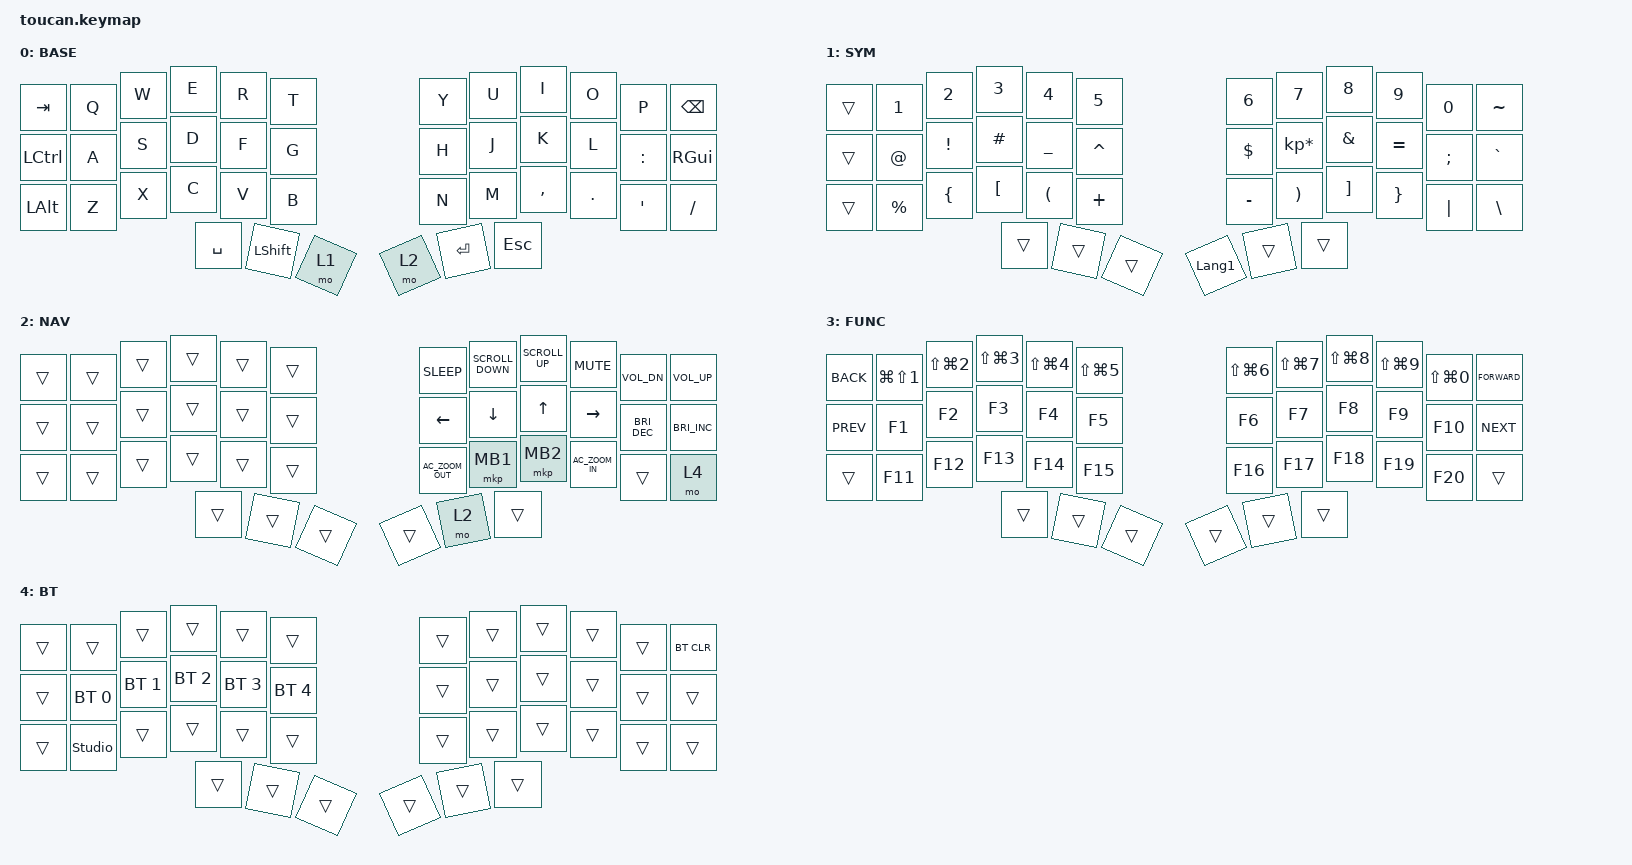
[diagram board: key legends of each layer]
#include <behaviors.dtsi>
#include <dt-bindings/zmk/bt.h>
#include <dt-bindings/zmk/keys.h>
#include <dt-bindings/zmk/pointing.h>

#define BASE 0
#define NAV  1
#define SYM  2
#define ADJ  3

/ {
    conditional_layers {
        compatible = "zmk,conditional-layers";

        tri_layer {
            if-layers = <1 2>;
            then-layer = <3>;
        };
    };

    keymap {
        compatible = "zmk,keymap";

        base {
            display-name = "BASE";
            bindings = <
&kp TAB  &kp Q  &kp W  &kp E  &kp R  &kp T  &kp Y  &kp U  &kp I  &kp O  &kp P  &kp BSPC  &kp LCTRL  &kp A  &kp S  &kp D  &kp F  &kp G  &kp H  &kp J  &kp K  &kp L  &kp COLON  &kp RIGHT_GUI  &kp LALT  &kp Z  &kp X  &kp C  &kp V  &kp B  &kp N  &kp M  &kp COMMA  &kp DOT  &kp APOSTROPHE  &kp SLASH  &kp SPACE  &kp LEFT_SHIFT  &mo 1  &mo 2  &kp ENTER  &kp ESC
            >;
        };

        sym {
            display-name = "SYM";
            bindings = <
&trans  &kp N1  &kp N2  &kp N3  &kp N4  &kp N5  &kp N6  &kp N7  &kp N8  &kp N9  &kp N0  &kp TILDE  &trans  &kp AT  &kp EXCL  &kp HASH  &kp UNDER  &kp CARET  &kp DOLLAR  &kp KP_MULTIPLY  &kp AMPS  &kp EQUAL  &kp SEMI  &kp GRAVE  &trans  &kp PERCENT  &kp LBRC  &kp LBKT  &kp LPAR  &kp PLUS  &kp MINUS  &kp RPAR  &kp RBKT  &kp RBRC  &kp PIPE  &kp BACKSLASH  &trans  &trans  &trans  &kp LANGUAGE_1  &trans  &trans
            >;
        };

        nav {
            display-name = "NAV";
            bindings = <
&trans  &trans  &trans  &trans  &trans  &trans  &kp C_SLEEP  &kp K_SCROLL_DOWN  &kp K_SCROLL_UP  &kp C_MUTE  &kp C_VOL_DN  &kp C_VOL_UP  &trans  &trans  &trans  &trans  &trans  &trans  &kp LEFT  &kp DOWN  &kp UP  &kp RIGHT  &kp C_BRIGHTNESS_DEC  &kp C_BRIGHTNESS_INC  &trans  &trans  &trans  &trans  &trans  &trans  &kp C_AC_ZOOM_OUT  &mkp MB1  &mkp MB2  &kp C_AC_ZOOM_IN  &trans  &mo 4  &trans  &trans  &trans  &trans  &mo 2  &trans
            >;
        };

        func {
            display-name = "FUNC";
            bindings = <
&kp K_BACK  &kp LG(LS(N1))  &kp LS(LG(N2))  &kp LS(LG(N3))  &kp LS(LG(N4))  &kp LS(LG(N5))  &kp LS(LG(N6))  &kp LS(LG(N7))  &kp LS(LG(N8))  &kp LS(LG(N9))  &kp LS(LG(N0))  &kp K_FORWARD  &kp K_PREV  &kp F1  &kp F2  &kp F3  &kp F4  &kp F5  &kp F6  &kp F7  &kp F8  &kp F9  &kp F10  &kp K_NEXT  &trans  &kp F11  &kp F12  &kp F13  &kp F14  &kp F15  &kp F16  &kp F17  &kp F18  &kp F19  &kp F20  &trans  &trans  &trans  &trans  &trans  &trans  &trans
            >;
        };

        bt {
            display-name = "BT";
            bindings = <
&trans  &trans  &trans  &trans  &trans  &trans  &trans  &trans  &trans  &trans  &trans  &bt BT_CLR  &trans  &bt BT_SEL 0  &bt BT_SEL 1  &bt BT_SEL 2  &bt BT_SEL 3  &bt BT_SEL 4  &trans  &trans  &trans  &trans  &trans  &trans  &trans  &studio_unlock  &trans  &trans  &trans  &trans  &trans  &trans  &trans  &trans  &trans  &trans  &trans  &trans  &trans  &trans  &trans  &trans
            >;
        };

        extra_1 { status = "reserved"; };

        extra_2 { status = "reserved"; };

        extra_3 { status = "reserved"; };

        extra_4 { status = "reserved"; };

        extra_5 { status = "reserved"; };

        extra_6 { status = "reserved"; };

        extra_7 { status = "reserved"; };

        extra_8 { status = "reserved"; };

        extra_9 { status = "reserved"; };

        extra_10 { status = "reserved"; };

        extra_11 { status = "reserved"; };

        extra_12 { status = "reserved"; };

        extra_13 { status = "reserved"; };

        extra_14 { status = "reserved"; };

        extra_15 { status = "reserved"; };

        extra_16 { status = "reserved"; };

        extra_17 { status = "reserved"; };

        extra_18 { status = "reserved"; };

        extra_19 { status = "reserved"; };

        extra_20 { status = "reserved"; };

        extra_21 { status = "reserved"; };

        extra_22 { status = "reserved"; };

        extra_23 { status = "reserved"; };

        extra_24 { status = "reserved"; };

        extra_25 { status = "reserved"; };

        extra_26 { status = "reserved"; };

        extra_27 { status = "reserved"; };
    };
};
